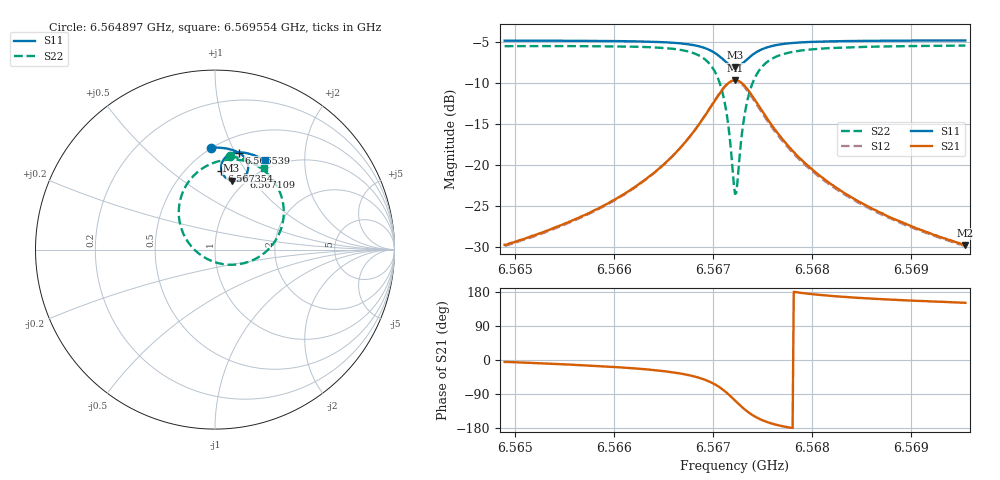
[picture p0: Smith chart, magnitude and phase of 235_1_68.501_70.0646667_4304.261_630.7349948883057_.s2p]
#  HZ  S  RI  R  50.00
! Rohde & Schwarz Vector Network Analyzer
! Rohde-Schwarz,ZNB20-2Port,1311601062101988,3.16
! Created: UTC 3/20/2024, 5:14:12 PM
! freq[Hz]  re:S11  im:S11  re:S21  im:S21  re:S12  im:S12  re:S22  im:S22
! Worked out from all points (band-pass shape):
!   401 points, 6.564897 GHz to 6.569554 GHz, reference 50 ohm
!   highest |S21| = -9.70 dB at 6.567226 GHz (marker M1); lowest = -29.7 dB at 6.569554 GHz (marker M2)
!   |S21| within 3 dB of the highest: 6.566993 GHz to 6.567459 GHz (465.9 kHz wide, 0.00709 % of centre)
!   lowest |S11| = -8.1 dB at 6.567226 GHz (marker M3), VSWR 2.30, Z = 43.5 + j39.5 ohm
!   |S11| at or under -10 dB: nowhere
!   |S22| runs from -23.5 to -5.5 dB; largest |S21 - S12| = 0.017
!   S11 on the Smith chart (normalised r, x): 6.564897 GHz: 0.50, +0.83; 6.566539 GHz: 0.66, +1.04; 6.567109 GHz: 0.94, +0.94; 6.567354 GHz: 0.72, +0.78; 6.569554 GHz: 0.87, +1.29
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6.5648973e9  -0.0206 0.5687  0.0326 -0.00292  0.032 -0.00332  0.0825 0.5205
6.5656773e9  0.0455 0.5658  0.0474 -0.0115  0.0467 -0.0122  0.1629 0.5012
6.5660847e9  0.0837 0.5587  0.0617 -0.0223  0.0607 -0.023  0.2168 0.4775
6.5664573e9  0.1239 0.5444  0.0839 -0.0447  0.0827 -0.0457  0.2828 0.4315
6.5665388e9  0.1338 0.5392  0.0906 -0.0535  0.0893 -0.0545  0.3009 0.414
6.5667716e9  0.1645 0.5133  0.1133 -0.0975  0.1114 -0.0996  0.3582 0.3279
6.5669346e9  0.183 0.4755  0.1217 -0.1641  0.1183 -0.1678  0.3829 0.1991
6.5670393e9  0.1813 0.4351  0.1002 -0.2348  0.0935 -0.2396  0.3457 0.0648
6.5671092e9  0.1629 0.4042  0.0535 -0.2875  0.0425 -0.291  0.2577 -0.0321
6.5671558e9  0.1392 0.3879  0.00215 -0.3132  -0.012 -0.3137  0.1612 -0.0759
6.5672023e9  0.1084 0.3817  -0.0617 -0.3195  -0.077 -0.3151  0.0446 -0.0809
6.5672256e9  0.092 0.3835  -0.0946 -0.3133  -0.1094 -0.306  -0.0136 -0.0654
6.5672489e9  0.0767 0.3891  -0.1256 -0.3007  -0.1391 -0.2908  -0.0671 -0.0384
6.5673071e9  0.0473 0.4145  -0.185 -0.2482  -0.1931 -0.2344  -0.1635 0.0629
6.5673537e9  0.0361 0.4402  -0.2088 -0.1976  -0.2124 -0.1835  -0.197 0.1552
6.5674468e9  0.0393 0.4848  -0.2103 -0.1115  -0.2082 -0.1007  -0.185 0.3053
6.5675865e9  0.0671 0.5215  -0.1733 -0.0406  -0.1694 -0.0345  -0.1062 0.4241
6.5677495e9  0.0992 0.5375  -0.1332 -0.00714  -0.1297 -0.00389  -0.0232 0.4773
6.5680056e9  0.1382 0.5422  -0.0934 0.0104  -0.0911 0.0118  0.0642 0.5
6.5683432e9  0.1769 0.5374  -0.065 0.0161  -0.0634 0.0167  0.1358 0.4994
6.5687856e9  0.2176 0.5255  -0.0453 0.0169  -0.0443 0.0173  0.1983 0.4863
6.569554e9  0.2771 0.4987  -0.0285 0.0159  -0.028 0.016  0.2737 0.4554
